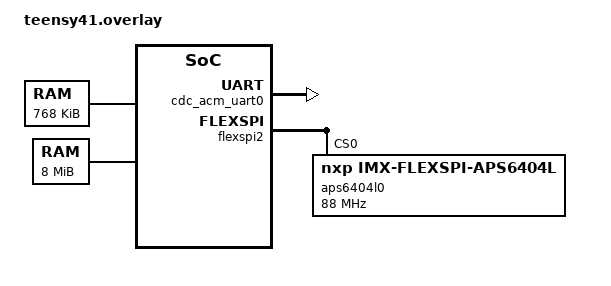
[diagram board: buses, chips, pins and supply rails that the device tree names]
/*
 * PJRC Teensy 4.1 for DoomFlight
 *
 * - USB CDC ACM is the console and the F Prime downlink/uplink (Zephyr.ZephyrUartDriver) and touch reset UART
 * - Native ENET Ethernet (PJRC Ethernet kit) is enabled by the board devicetree
 * - APS6404L PSRAM soldered on the bottom PSRAM pads, memory mapped by FlexSPI2 at 0x70000000
 */

&zephyr_udc0 {
	cdc_acm_uart0: cdc_acm_uart0 {
		compatible = "zephyr,cdc-acm-uart";
	};
};

/ {
	chosen {
		zephyr,console = &cdc_acm_uart0;
		zephyr,shell-uart = &cdc_acm_uart0;
		zephyr,sram = &sram;
	};

	/* OCRAM2 (512 KB at 0x20200000) and FlexRAM OCRAM (256 KB at 0x20280000, fuse default bank split) are
	 * contiguous, so Zephyr uses them as one 768 KB RAM region for data, stacks and the malloc heap.
	 */
	sram: memory@20200000 {
		compatible = "mmio-sram";
		reg = <0x20200000 DT_SIZE_K(768)>;
	};

	/* PSRAM linker region: sections may be placed here with Z_GENERIC_SECTION(PSRAM) once FlexSPI2 is up */
	psram: memory@70000000 {
		compatible = "zephyr,memory-region", "mmio-sram";
		reg = <0x70000000 DT_SIZE_M(8)>;
		zephyr,memory-region = "PSRAM";
	};
};

&pinctrl {
	/* Teensy 4.1 PSRAM pads: GPIO_EMC_22 (CS1), 23 (DQS), 24 (CS0), 25 (SCLK), 26-29 (DATA0-3) */
	pinmux_flexspi2: pinmux_flexspi2 {
		group0 {
			pinmux = <&iomuxc_gpio_emc_23_flexspi2_a_dqs>;
			drive-strength = "r0-6";
			input-schmitt-enable;
			bias-pull-down;
			bias-pull-down-value = "100k";
			slew-rate = "fast";
			nxp,speed = "200-mhz";
			input-enable;
		};

		group1 {
			pinmux = <&iomuxc_gpio_emc_22_flexspi2_a_ss1_b>,
				 <&iomuxc_gpio_emc_24_flexspi2_a_ss0_b>,
				 <&iomuxc_gpio_emc_25_flexspi2_a_sclk>,
				 <&iomuxc_gpio_emc_26_flexspi2_a_data0>,
				 <&iomuxc_gpio_emc_27_flexspi2_a_data1>,
				 <&iomuxc_gpio_emc_28_flexspi2_a_data2>,
				 <&iomuxc_gpio_emc_29_flexspi2_a_data3>;
			drive-strength = "r0-6";
			slew-rate = "fast";
			nxp,speed = "200-mhz";
			input-enable;
		};
	};
};

&flexspi2 {
	status = "okay";
	reg = <0x402a4000 0x4000>, <0x70000000 DT_SIZE_M(16)>;
	pinctrl-0 = <&pinmux_flexspi2>;
	pinctrl-names = "default";
	rx-clock-source = <1>;

	/* First chip (small pads, CS0): required */
	aps6404l0: aps6404l@0 {
		compatible = "nxp,imx-flexspi-aps6404l";
		/* APS6404L is 8MB, 64MBit pSRAM */
		size = <DT_SIZE_M(8 * 8)>;
		reg = <0>;
		spi-max-frequency = <DT_FREQ_M(88)>;
		status = "okay";
		cs-interval-unit = <1>;
		cs-interval = <2>;
		cs-hold-time = <3>;
		cs-setup-time = <3>;
		data-valid-time = <6>;
		column-space = <0>;
		ahb-write-wait-unit = <2>;
		ahb-write-wait-interval = <0>;
	};

	/* Second chip (large pads, CS1) on 16 MB boards: enable here and grow the psram region to DT_SIZE_M(16) */
	aps6404l1: aps6404l@1 {
		compatible = "nxp,imx-flexspi-aps6404l";
		size = <DT_SIZE_M(8 * 8)>;
		reg = <1>;
		spi-max-frequency = <DT_FREQ_M(88)>;
		status = "disabled";
		cs-interval-unit = <1>;
		cs-interval = <2>;
		cs-hold-time = <3>;
		cs-setup-time = <3>;
		data-valid-time = <6>;
		column-space = <0>;
		ahb-write-wait-unit = <2>;
		ahb-write-wait-interval = <0>;
	};
};

/* Covered by the combined sram node */
&ocram {
	compatible = "mmio-sram";
	/delete-property/ zephyr,memory-region;
};

&ocram2 {
	compatible = "mmio-sram";
	/delete-property/ zephyr,memory-region;
};
